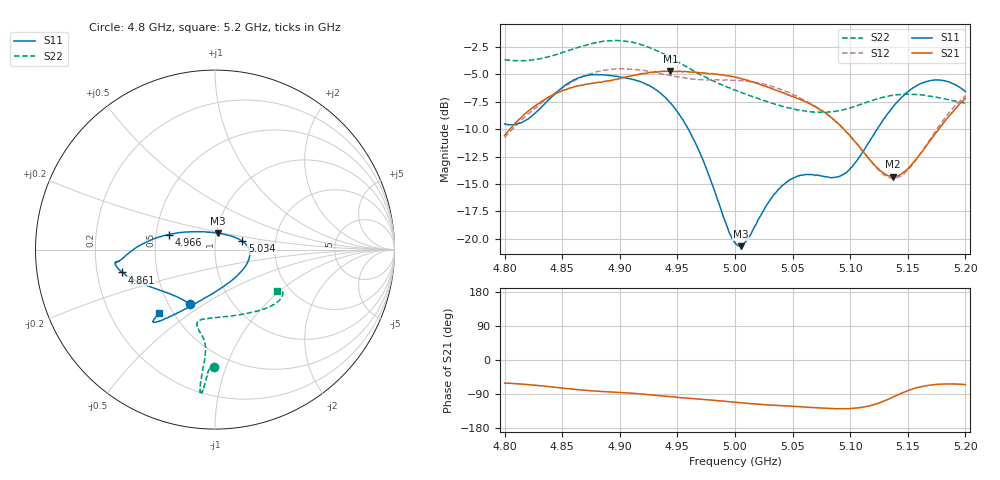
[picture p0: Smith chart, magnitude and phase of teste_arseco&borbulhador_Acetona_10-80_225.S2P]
! Network Analyzer HP8722D
! Hewlett-Packard
! Data name: Linha & Wilkinson
! Saver's name: Rodrigo Anjos
! Comments: Teste da utilização de aquisição
! continua pelo VNA HP8722D
! Time and date: 17/4/2025 16:14
!  Frequency  S11  S21  S12  S22
# HZ  S  MA R 50
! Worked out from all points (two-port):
!   401 points, 4.8 GHz to 5.2 GHz, reference 50 ohm
!   highest |S21| = -4.69 dB at 4.944 GHz (marker M1); lowest = -14.3 dB at 5.137 GHz (marker M2)
!   |S21| within 3 dB of the highest: 4.829 GHz to 5.065 GHz (235.9 MHz wide, 4.77 % of centre); 5.19492 GHz to end of sweep
!   lowest |S11| = -20.7 dB at 5.005 GHz (marker M3), VSWR 1.20, Z = 51 + j9.33 ohm
!   |S11| at or under -10 dB: 4.96 GHz to 5.123 GHz (163.9 MHz wide, 3.25 % of centre)
!   |S22| runs from -8.5 to -1.9 dB; largest |S21 - S12| = 0.87
!   S11 on the Smith chart (normalised r, x): 4.8 GHz: 0.64, -0.44; 4.861 GHz: 0.31, -0.11; 4.966 GHz: 0.58, +0.11; 5.034 GHz: 1.35, +0.13; 5.2 GHz: 0.42, -0.38
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4.8e9  0.3344 -114.3  0.2962 -61.1  0.2897 -175.3  0.6569 -90.3
4.819e9  0.3491 -134.4  0.376 -64.6  0.3649 -174.1  0.651 -92.0
4.861e9  0.5338 -166.2  0.494 -77.6  0.5278 -177.3  0.7378 -94.2
4.867e9  0.5486 -168.6  0.5017 -79.4  0.546 -178.5  0.7556 -94.3
4.9e9  0.5481 -173.0  0.5382 -85.8  0.5956 174.9  0.8011 -95.7
4.934e9  0.4678 -178.9  0.5788 -94.1  0.5696 171.4  0.7139 -96.1
4.944e9  0.4167 176.6  0.5829 -96.7  0.5549 171.5  0.6708 -95.9
4.966e9  0.2709 162.0  0.5758 -102.5  0.5345 173.4  0.5765 -95.3
5e9  0.09602 97.1  0.5463 -111.5  0.5293 175.9  0.476 -99.4
5.005e9  0.0925 78.7  0.5388 -113.0  0.5273 175.9  0.4652 -100.6
5.034e9  0.1595 17.4  0.4797 -119.4  0.4929 174.5  0.4126 -103.3
5.049e9  0.1872 2.5  0.446 -122.0  0.4583 173.8  0.3934 -99.6
5.067e9  0.196 -16.8  0.4068 -125.5  0.4111 173.2  0.3789 -90.2
5.085e9  0.1904 -45.2  0.3514 -128.3  0.3525 173.4  0.3806 -76.5
5.097e9  0.201 -69.4  0.3055 -128.4  0.3062 174.9  0.3911 -66.8
5.122e9  0.3083 -108.2  0.2149 -116.5  0.2125 -171.1  0.4324 -49.2
5.134e9  0.3802 -117.8  0.1935 -102.2  0.19 -155.2  0.4487 -43.0
5.137e9  0.3982 -119.5  0.1919 -98.0  0.1887 -150.5  0.4514 -41.8
5.15e9  0.4682 -125.3  0.2085 -81.2  0.2058 -130.8  0.4569 -37.0
5.17e9  0.528 -129.8  0.2828 -66.0  0.2888 -112.2  0.447 -32.3
5.184e9  0.5227 -131.0  0.3542 -63.3  0.3653 -107.5  0.4323 -31.3
5.2e9  0.4695 -131.2  0.4378 -64.9  0.4496 -106.9  0.4158 -33.7
